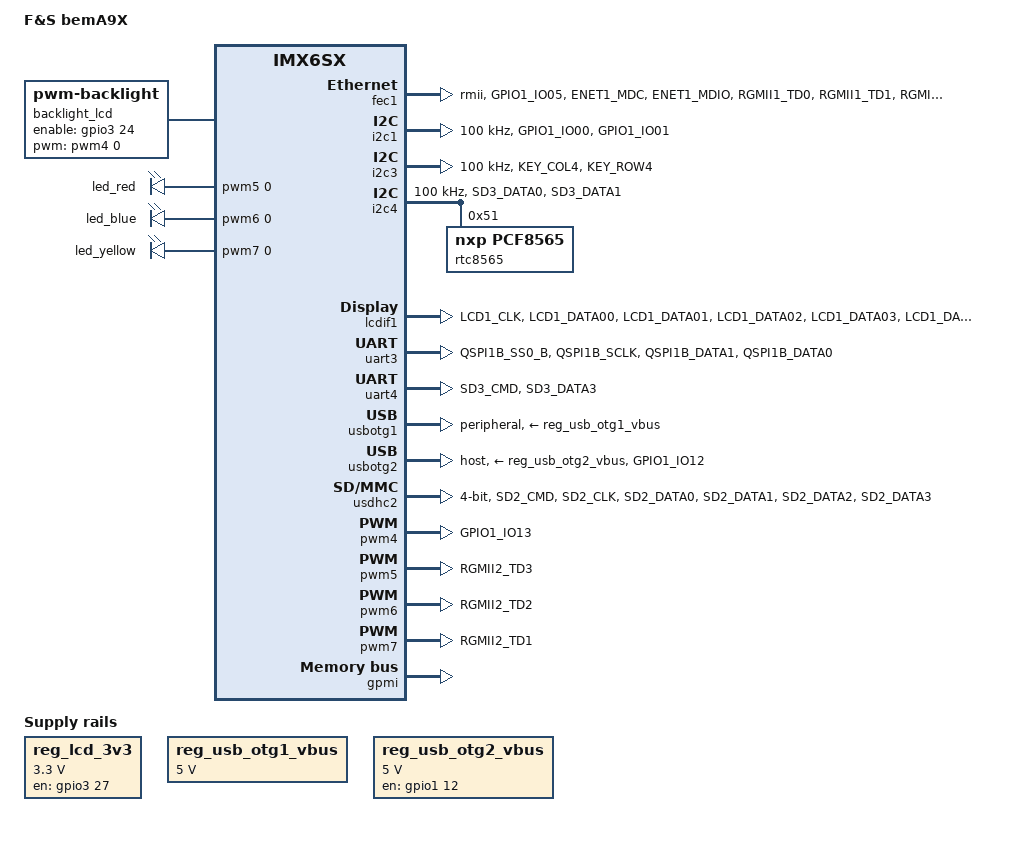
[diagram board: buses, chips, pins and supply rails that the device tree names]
/*
 * Copyright (C) 2015 F&S Elektronik Systeme GmbH
 *
 * This program is free software; you can redistribute it and/or modify
 * it under the terms of the GNU General Public License version 2 as
 * published by the Free Software Foundation.
 */
#define CONFIG_BEMA9X_BL_LEVELS_16

/dts-v1/;

#include "imx6sx.dtsi"

/ {
	model = "F&S bemA9X";
	compatible = "fus,imx6sx-bema9x", "fsl,imx6sx";


	backlight_lcd {
		compatible = "pwm-backlight";
		pwms = <&pwm4 0 5000000>;
#ifdef CONFIG_BEMA9X_BL_LEVELS_16
		brightness-levels = <0 1 5 10 18 28 41 56
				     73 92 113 137 163 192 222 255>;
		default-brightness-level = <14>;
#else
		brightness-levels = <0 5 21 47 83 130 187 255>;
		default-brightness-level = <6>;
#endif
		fb-names = "mxs-lcdif1";
		enable-gpios = <&gpio3 24 GPIO_ACTIVE_HIGH>;
	};

pwmleds {
	compatible = "pwm-leds";
	red {
		label = "led_red";
		pwms = <&pwm5 0 7812500>;
		max-brightness = <255>;
	};
	blue {
		label = "led_blue";
		pwms = <&pwm6 0 7812500>;
		max-brightness = <255>;
	};
	yellow{
		label = "led_yellow";
		pwms = <&pwm7 0 7812500>;
		max-brightness = <255>;
	};
};

#if 0
	memory {
		reg = <0x80000000 0x80000000>;
	};

	clocks {
		codec_osc: anaclk2 {
			#clock-cells = <0>;
			compatible = "fixed-clock";
			clock-frequency = <24576000>;
		};
	};

	pxp_v4l2_out {
		compatible = "fsl,imx6sx-pxp-v4l2", "fsl,imx6sl-pxp-v4l2";
		status = "okay";
	};
#endif

	regulators {
		compatible = "simple-bus";

		reg_lcd_3v3: lcd-3v3 {
			compatible = "regulator-fixed";
			regulator-name = "lcd-3v3";
			gpio = <&gpio3 27 GPIO_ACTIVE_HIGH>;
			regulator-min-microvolt = <3300000>;
			regulator-max-microvolt = <3300000>;
			enable-active-high;
		};

		reg_vref_3v3: regulator@0 {
//			compatible = "regulator-fixed";
			regulator-name = "vref-3v3";
			regulator-min-microvolt = <3300000>;
			regulator-max-microvolt = <3300000>;
		};


		reg_usb_otg1_vbus: usb_otg1_vbus {
			compatible = "regulator-fixed";
			regulator-name = "usb_otg1_vbus";
			regulator-min-microvolt = <5000000>;
			regulator-max-microvolt = <5000000>;
//			gpio = <&gpio1 9 0>;
			enable-active-high;
		};

		reg_usb_otg2_vbus: usb_otg2_vbus {
			compatible = "regulator-fixed";
			regulator-name = "usb_otg2_vbus";
			regulator-min-microvolt = <5000000>;
			regulator-max-microvolt = <5000000>;
			gpio = <&gpio1 12 0>;
			enable-active-high;
		};
	};


	/* -------------------- BOARD INFO -------------------- */
	bdinfo {
		compatible = "bdinfo";
		board_name = "bema9x";
		ecc_strength = "8";
	};

};

&iomuxc {
	pinctrl-names = "default";
	pinctrl-0 = <&pinctrl_hog>;

 	imx6x-bema9x { 

		pinctrl_hog: hoggrp {
			fsl,pins = <
				/* VBL_ON active low */
				MX6SX_PAD_LCD1_DATA23__GPIO3_IO_24	0x80000000

				/* VLCD_ON active low */
				MX6SX_PAD_LCD1_RESET__GPIO3_IO_27	0x80000000 

				/* LED_YELLOW_PWM_ON */
				MX6SX_PAD_RGMII2_TD0__GPIO5_IO_18	0x0001b0b1

				/* BootGPIO */
				MX6SX_PAD_GPIO1_IO09__GPIO1_IO_9	0x0001b0b1

				/* RESETOUT */
				MX6SX_PAD_LCD1_DATA19__GPIO3_IO_20	0x0001b0b1

				/* INT_BUTTONC */
				MX6SX_PAD_LCD1_DATA20__GPIO3_IO_21	0x0001b0b1

				/* DVS */
				MX6SX_PAD_QSPI1B_DQS__GPIO4_IO_28	0x0001b0b1
			>;
		};


		pinctrl_enet1_1: enet1grp-1 {
			fsl,pins = <
				/* gpio to reset phy, activated in uboot */
//				MX6SX_PAD_ENET2_CRS__GPIO2_IO_7		0xa0b1
				/* 50MHz base clock from CPU to PHY */
				MX6SX_PAD_GPIO1_IO05__ENET1_REF_CLK1	0x400000a1
				/* MDIO */
				MX6SX_PAD_ENET1_MDC__ENET1_MDC		0xa0b1
				MX6SX_PAD_ENET1_MDIO__ENET1_MDIO	0xa0b1
				/* fec1 */
				MX6SX_PAD_RGMII1_TD0__ENET1_TX_DATA_0	0xa0b1
				MX6SX_PAD_RGMII1_TD1__ENET1_TX_DATA_1	0xa0b1
				MX6SX_PAD_RGMII1_TX_CTL__ENET1_TX_EN	0xa0b1
				MX6SX_PAD_RGMII1_RXC__ENET1_RX_ER	0x3081
				MX6SX_PAD_RGMII1_RD0__ENET1_RX_DATA_0	0x3081
				MX6SX_PAD_RGMII1_RD1__ENET1_RX_DATA_1	0x3081
				MX6SX_PAD_RGMII1_RX_CTL__ENET1_RX_EN	0x3081
			>;
		};

		/* Display LCD1 missing signals yet: 
			LCD1_DATA19 -> resetoutn, 
			LCD1_DATA20 -> int_buttonc, */
		pinctrl_lcdif1_1: lcd1grp-1 {
			fsl,pins = <
				MX6SX_PAD_LCD1_CLK__LCDIF1_CLK		0x00b0
				MX6SX_PAD_LCD1_DATA00__LCDIF1_DATA_0	0x00b0
				MX6SX_PAD_LCD1_DATA01__LCDIF1_DATA_1	0x00b0
				MX6SX_PAD_LCD1_DATA02__LCDIF1_DATA_2	0x00b0
				MX6SX_PAD_LCD1_DATA03__LCDIF1_DATA_3	0x00b0
				MX6SX_PAD_LCD1_DATA04__LCDIF1_DATA_4	0x00b0
				MX6SX_PAD_LCD1_DATA05__LCDIF1_DATA_5	0x00b0
				MX6SX_PAD_LCD1_DATA06__LCDIF1_DATA_6	0x00b0
				MX6SX_PAD_LCD1_DATA07__LCDIF1_DATA_7	0x00b0
				MX6SX_PAD_LCD1_DATA08__LCDIF1_DATA_8	0x00b0
				MX6SX_PAD_LCD1_DATA09__LCDIF1_DATA_9	0x00b0
				MX6SX_PAD_LCD1_DATA10__LCDIF1_DATA_10	0x00b0
				MX6SX_PAD_LCD1_DATA11__LCDIF1_DATA_11	0x00b0
				MX6SX_PAD_LCD1_DATA12__LCDIF1_DATA_12	0x00b0
				MX6SX_PAD_LCD1_DATA13__LCDIF1_DATA_13	0x00b0
				MX6SX_PAD_LCD1_DATA14__LCDIF1_DATA_14	0x00b0
				MX6SX_PAD_LCD1_DATA15__LCDIF1_DATA_15	0x00b0
				MX6SX_PAD_LCD1_DATA16__LCDIF1_DATA_16	0x00b0
				MX6SX_PAD_LCD1_DATA17__LCDIF1_DATA_17	0x00b0
				MX6SX_PAD_LCD1_ENABLE__LCDIF1_ENABLE	0x00b0
				MX6SX_PAD_LCD1_HSYNC__LCDIF1_HSYNC	0x00b0
				MX6SX_PAD_LCD1_VSYNC__LCDIF1_VSYNC	0x00b0
			>;
		};


		pinctrl_uart3_1: uart3grp-1 {
			fsl,pins = <
				MX6SX_PAD_QSPI1B_SS0_B__UART3_TX	0x1b0b1
				MX6SX_PAD_QSPI1B_SCLK__UART3_RX		0x1b0b1
				MX6SX_PAD_QSPI1B_DATA1__UART3_RTS_B	0x1b0b1
				MX6SX_PAD_QSPI1B_DATA0__UART3_CTS_B	0x1b0b1
			>;
		};

		/* RTSA/CTSA are not available on the connector */
		pinctrl_uart4_1: uart4grp-1 {
			fsl,pins = <
				MX6SX_PAD_SD3_CMD__UART4_TX		0x1b0b1
				MX6SX_PAD_SD3_DATA3__UART4_RX		0x1b0b1
			>;
		};


		pinctrl_pwm4_0: pwm4grp-0 {
			fsl,pins = < 
				MX6SX_PAD_GPIO1_IO13__PWM4_OUT		0x110b0	
                        >; 
                     };    

		pinctrl_pwm5_0: pwm5grp-0 {
			fsl,pins = < 
				MX6SX_PAD_RGMII2_TD3__PWM5_OUT		0x110b0	
                        >; 
                     };    

		pinctrl_pwm6_0: pwm6grp-0 {
			fsl,pins = < 
				MX6SX_PAD_RGMII2_TD2__PWM6_OUT		0x110b0	
                        >; 
                     };    

		pinctrl_pwm7_0: pwm7grp-0 {
			fsl,pins = < 
				MX6SX_PAD_RGMII2_TD1__PWM7_OUT		0x110b0	
                        >; 
                     };    


		pinctrl_usbotg2_1: usbotg2grp-1 {
			fsl,pins = <
				MX6SX_PAD_GPIO1_IO12__GPIO1_IO_12	0x80000000
			>;
		};

#if 0 
		/* on-board WLAN */
		pinctrl_usdhc1_1: usdhc1grp-1 {
			fsl,pins = <
				MX6SX_PAD_SD4_CMD__USDHC4_CMD		0x17071
				MX6SX_PAD_SD4_CLK__USDHC4_CLK		0x10071
				MX6SX_PAD_SD4_DATA0__USDHC4_DATA0	0x17071
				MX6SX_PAD_SD4_DATA1__USDHC4_DATA1	0x17071
				MX6SX_PAD_SD4_DATA2__USDHC4_DATA2	0x17071
				MX6SX_PAD_SD4_DATA3__USDHC4_DATA3	0x17071
				/* Wlan enable */
				MX6SX_PAD_RGMII2_TXC__GPIO5_IO_23	0x80000000 
				/* irq */
				MX6SX_PAD_SD4_RESET_B__GPIO6_IO_22	0x80000000 
			>;
		};
#endif

		/* SD card */
		pinctrl_usdhc2_1: usdhc2grp-1 {
			fsl,pins = <
				MX6SX_PAD_SD2_CMD__USDHC2_CMD		0x17071
				MX6SX_PAD_SD2_CLK__USDHC2_CLK		0x10071
				MX6SX_PAD_SD2_DATA0__USDHC2_DATA0	0x17071
				MX6SX_PAD_SD2_DATA1__USDHC2_DATA1	0x17071
				MX6SX_PAD_SD2_DATA2__USDHC2_DATA2	0x17071
				MX6SX_PAD_SD2_DATA3__USDHC2_DATA3	0x17071
			>;
		};

		pinctrl_i2c1_1: i2c1grp-1 {
			fsl,pins = <
				MX6SX_PAD_GPIO1_IO00__I2C1_SCL		0x0001b8b1
				MX6SX_PAD_GPIO1_IO01__I2C1_SDA		0x0001b8b1
			>;
		};

		pinctrl_i2c3_1: i2c3grp-1 {
			fsl,pins = <
				MX6SX_PAD_KEY_COL4__I2C3_SCL	0x0001b8b1
				MX6SX_PAD_KEY_ROW4__I2C3_SDA	0x0001b8b1
			>;
		};

		pinctrl_i2c4_1: i2c4grp-1 {
			fsl,pins = <
				MX6SX_PAD_SD3_DATA0__I2C4_SCL 		0x0001b8b1
				MX6SX_PAD_SD3_DATA1__I2C4_SDA		0x0001b8b1
			>;
		};

	};
};

&fec1 {
	pinctrl-names = "default";
	pinctrl-0 = <&pinctrl_enet1_1>;
	assigned-clocks = <&clks IMX6SX_CLK_ENET_REF>;
	assigned-clock-rates = <50000000>;
	phy-mode = "rmii";
	fsl,magic-packet;
	fsl,ref-clock-out;
	status = "okay";
};


/* I2C1 to J6 and connector, Touch */
&i2c1 {
	clock-frequency = <100000>;
	pinctrl-names = "default";
	pinctrl-0 = <&pinctrl_i2c1_1>;
	status = "okay";
};

/* I2C3 to connector */
&i2c3 {
	clock-frequency = <100000>;
	pinctrl-names = "default";
	pinctrl-0 = <&pinctrl_i2c3_1>;
	status = "okay";
};

/* I2C4 to U10 and U4 (RTC)*/
&i2c4 {
	clock-frequency = <100000>;
	pinctrl-names = "default";
	pinctrl-0 = <&pinctrl_i2c4_1>;
	status = "okay";

	rtc8565@51 {
		compatible = "nxp,pcf8565", "nxp,pcf8563";
		reg = <0x51>;
	};
};

&lcdif1 {
	display = <&display0>;			/* Remove when already active */
	pinctrl-names = "default";
	pinctrl-0 = <&pinctrl_lcdif1_1>;	/* Remove when already active */
	lcd-supply = <&reg_lcd_3v3>;
	status = "okay";

	display0: display {
		bits-per-pixel = <16>;
		bus-width = <18>;
		display-timings {
			native-mode = <&timing0>;
			timing0: vga {
//				clock-frequency = <27000000>;
				clock-frequency = <25188000>;
				hactive = <640>;
				vactive = <480>;
				hfront-porch = <16>;
				hback-porch = <134>;
				hsync-len = <10>;
				vback-porch = <11>;
				vfront-porch = <32>;
				vsync-len = <2>;
				hsync-active = <0>;
				vsync-active = <0>;
				de-active = <1>;
				pixelclk-active = <1>;
			};
		};
	};
};


&uart3 {
	/* UART_A: TXD, RXD, RTS CTS, COM2 on SKIT */
	pinctrl-names = "default";
	pinctrl-0 = <&pinctrl_uart3_1>;
	fsl,uart-has-rtscts;
	status = "okay";
};

&uart4 {
	/* UART_B: TXD, RXD,  COM3 on SKIT */
	pinctrl-names = "default";
	pinctrl-0 = <&pinctrl_uart4_1>;
	fsl;
	status = "okay";
};

/* USB device */
&usbotg1 {
	/* signals don't use mulitplexer, so no pinctrl here */
	vbus-supply = <&reg_usb_otg1_vbus>;
	dr_mode = "peripheral";
	pinctrl-names = "default";
	status = "okay";
};


/* USB host */
&usbotg2 {
	vbus-supply = <&reg_usb_otg2_vbus>;
	dr_mode = "host";
	pinctrl-0 = <&pinctrl_usbotg2_1>;
	status = "okay";
};

#if 0
&usdhc1 {
	/* on-board WLAN */
	pinctrl-names = "default";
	pinctrl-0 = <&pinctrl_usdhc1_1>;
	bus-width = <4>;
	non-removable;
	keep-power-in-suspend;
	enable-sdio-wakeup;
	status = "okay";
};
#endif

&usdhc2 {
	/* External normal sized SD clot on SKIT */
	pinctrl-names = "default";
	pinctrl-0 = <&pinctrl_usdhc2_1>;
	bus-width = <4>;
	keep-power-in-suspend;
	enable-sdio-wakeup;
	status = "okay";
};

/* backlight PWM */
&pwm4 {
	pinctrl-names = "default";
	pinctrl-0 = <&pinctrl_pwm4_0>;
	status = "okay";
};

/* PWM5 LED_RED_PWM */
&pwm5 {
	pinctrl-names = "default";
	pinctrl-0 = <&pinctrl_pwm5_0>;
	status = "okay";
};

/* PWM6 LED_BLUE_PWM */
&pwm6 {
	pinctrl-names = "default";
	pinctrl-0 = <&pinctrl_pwm6_0>;
	status = "okay";
};

/* PWM7 LED_YELLOW_PWM */
&pwm7 {
	pinctrl-names = "default";
	pinctrl-0 = <&pinctrl_pwm7_0>;
	status = "okay";
};


&dma_apbh {
	/* Switch to F&S implementation of APBH DMA driver for GPMI (NAND) */
	compatible = "fus,imx6sx-dma-apbh", "fus,imx28-dma-apbh";
};

&gpmi {
	/* Switch to F&S implementation of GPMI NAND driver */
	compatible = "fus,imx6sx-gpmi-nand";
	pinctrl-names = "default";
	fus,skipblocks = <2>;
	fus,chunk1k;
	fus,ecc_strength = <8>;		// Spare area 64 bytes
//###	fus,ecc_strength = <52>;	// Spare area 224 bytes
	status = "okay";
};

